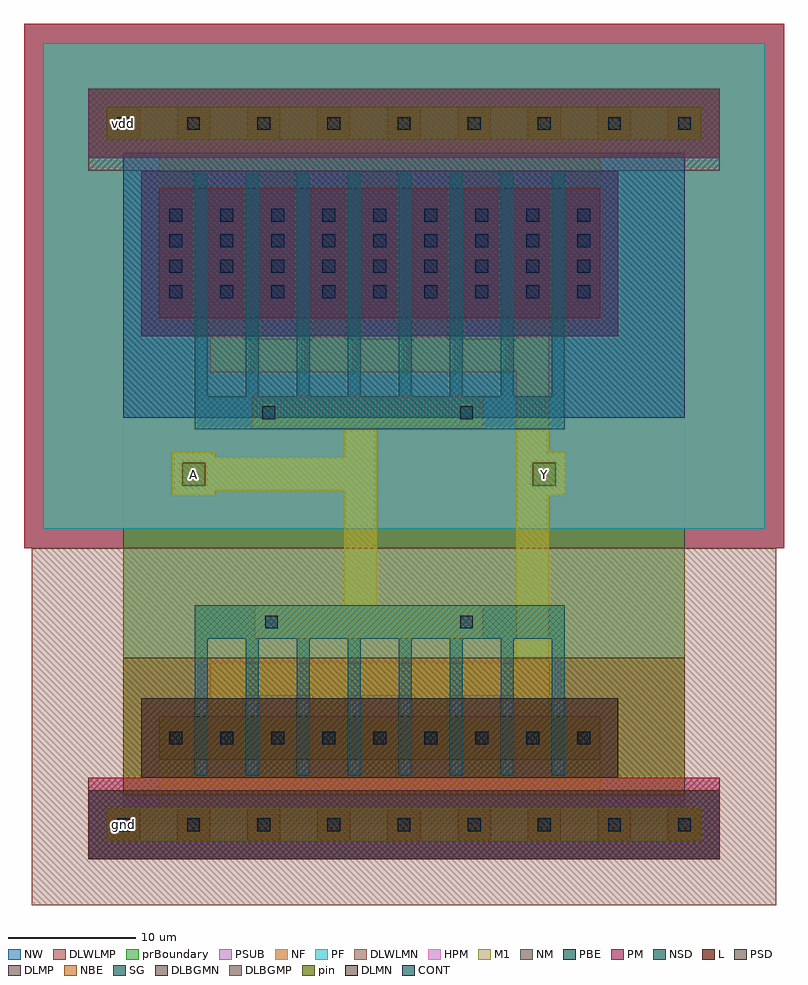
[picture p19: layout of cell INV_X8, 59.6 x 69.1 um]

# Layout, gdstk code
import gdstk
lib = gdstk.Library(unit=1e-6, precision=1e-09)
def R(c, l, rs):  # rectangles x0, y0, x1, y1
    for r in rs: c.add(gdstk.rectangle(r[:2], r[2:], *l))
def A(c, l, x, y, w, h, nx, ny, dx, dy):  # array of equal rectangles
    R(c, l, [(x+i*dx, y+j*dy, x+i*dx+w, y+j*dy+h) for i in range(nx) for j in range(ny)])
def P(c, l, *ps):  # polygons
    for p in ps: c.add(gdstk.Polygon(p, *l))
L = (3, 0)
NM = (7, 0)
SG = (8, 0)
PSD = (9, 0)
CONT = (11, 0)
M1 = (13, 0)
NF = (25, 0)
PF = (26, 0)
NSD = (28, 0)
HPM = (33, 0)
PM = (35, 0)
NW = (36, 0)
pin = (48, 1)
PSUB = (140, 0)
PBE = (146, 0)
NBE = (147, 0)
DLWLMP = (150, 0)
DLWLMN = (151, 0)
DLMP = (157, 0)
DLMN = (158, 0)
DLBGMP = (177, 0)
DLBGMN = (178, 0)
prBoundary = (235, 0)

inv_x8 = lib.new_cell('INV_X8')
A(inv_x8, L, -1.3, -1.3, 2.6, 2.6, 9, 2, 5.5, 55)
R(inv_x8, L, [(2.8,5.1,37.4,8.5), (2.8,39.7,37.4,49.9)])
R(inv_x8, NM, [(-2.75,-2.7,46.75,2.7)])
P(inv_x8, NM, [(1.4,38.3),(1.4,51.3),(-2.75,51.3),(-2.75,57.7),(46.75,57.7),(46.75,51.3),(38.8,51.3),(38.8,38.3)])
P(inv_x8, SG, [(5.6,3.9),(5.6,17.2),(34.6,17.2),(34.6,3.9),(33.6,3.9),(33.6,14.6),(30.6,14.6),(30.6,3.9),(29.6,3.9),(29.6,14.6),(26.6,14.6),(26.6,3.9),(25.6,3.9),(25.6,14.6),(22.6,14.6),(22.6,3.9),(21.6,3.9),(21.6,14.6),(18.6,14.6),(18.6,3.9),(17.6,3.9),(17.6,14.6),(14.6,14.6),(14.6,3.9),(13.6,3.9),(13.6,14.6),(10.6,14.6),(10.6,3.9),(9.6,3.9),(9.6,14.6),(6.6,14.6),(6.6,3.9)],
  [(5.6,31),(5.6,51.1),(6.6,51.1),(6.6,33.6),(9.6,33.6),(9.6,51.1),(10.6,51.1),(10.6,33.6),(13.6,33.6),(13.6,51.1),(14.6,51.1),(14.6,33.6),(17.6,33.6),(17.6,51.1),(18.6,51.1),(18.6,33.6),(21.6,33.6),(21.6,51.1),(22.6,51.1),(22.6,33.6),(25.6,33.6),(25.6,51.1),(26.6,51.1),(26.6,33.6),(29.6,33.6),(29.6,51.1),(30.6,51.1),(30.6,33.6),(33.6,33.6),(33.6,51.1),(34.6,51.1),(34.6,31)])
R(inv_x8, PSD, [(1.4,3.7,38.8,9.9), (-2.75,52.3,46.75,57.7)])
A(inv_x8, CONT, -0.5, -0.5, 1, 1, 9, 2, 5.5, 55)
A(inv_x8, CONT, 3.6, 6.3, 1, 1, 9, 2, 4, 35)
A(inv_x8, CONT, 3.6, 43.3, 1, 1, 9, 3, 4, 2)
R(inv_x8, CONT, [(11.1,15.4,12.1,16.4), (26.4,15.4,27.4,16.4), (10.9,31.8,11.9,32.8), (26.4,31.8,27.4,32.8)])
P(inv_x8, M1, [(-1.3,-1.3),(-1.3,1.3),(2.8,1.3),(2.8,8.5),(5.4,8.5),(5.4,3.7),(10.8,3.7),(10.8,8.5),(13.4,8.5),(13.4,3.7),(18.8,3.7),(18.8,8.5),(21.4,8.5),(21.4,3.7),(26.8,3.7),(26.8,8.5),(29.4,8.5),(29.4,3.7),(34.8,3.7),(34.8,8.5),(37.4,8.5),(37.4,1.3),(45.3,1.3),(45.3,-1.3)],
  [(10.3,14.6),(10.3,17.2),(17.3,17.2),(17.3,26.2),(7.2,26.2),(7.2,25.8),(3.8,25.8),(3.8,29.2),(7.2,29.2),(7.2,28.8),(17.3,28.8),(17.3,31),(10.1,31),(10.1,33.6),(28.2,33.6),(28.2,31),(19.9,31),(19.9,17.2),(28.2,17.2),(28.2,14.6)],
  [(6.8,5.1),(6.8,12.7),(30.8,12.7),(30.8,35.5),(6.8,35.5),(6.8,49.9),(9.4,49.9),(9.4,38.1),(14.8,38.1),(14.8,49.9),(17.4,49.9),(17.4,38.1),(22.8,38.1),(22.8,49.9),(25.4,49.9),(25.4,38.1),(30.8,38.1),(30.8,49.9),(33.4,49.9),(33.4,29.2),(34.7,29.2),(34.7,25.8),(33.4,25.8),(33.4,5.1),(30.8,5.1),(30.8,10.1),(25.4,10.1),(25.4,5.1),(22.8,5.1),(22.8,10.1),(17.4,10.1),(17.4,5.1),(14.8,5.1),(14.8,10.1),(9.4,10.1),(9.4,5.1)],
  [(2.8,39.7),(2.8,53.7),(-1.3,53.7),(-1.3,56.3),(45.3,56.3),(45.3,53.7),(37.4,53.7),(37.4,39.7),(34.8,39.7),(34.8,51.3),(29.4,51.3),(29.4,39.7),(26.8,39.7),(26.8,51.3),(21.4,51.3),(21.4,39.7),(18.8,39.7),(18.8,51.3),(13.4,51.3),(13.4,39.7),(10.8,39.7),(10.8,51.3),(5.4,51.3),(5.4,39.7)])
R(inv_x8, NF, [(-6.3,23.2,50.3,61.3)])
R(inv_x8, PF, [(-6.3,23.2,50.3,61.3)])
R(inv_x8, NSD, [(-2.75,-2.7,46.75,2.7), (1.4,38.3,38.8,51.3)])
P(inv_x8, HPM, [(-2.75,-2.7),(-2.75,3.7),(1.4,3.7),(1.4,9.9),(38.8,9.9),(38.8,3.7),(46.75,3.7),(46.75,-2.7)],
  [(1.4,38.3),(1.4,51.3),(-2.75,51.3),(-2.75,57.7),(46.75,57.7),(46.75,51.3),(38.8,51.3),(38.8,38.3)])
R(inv_x8, PM, [(-2.75,52.3,46.75,57.7)])
P(inv_x8, PM, [(-2.75,-2.7),(-2.75,3.7),(1.4,3.7),(1.4,9.9),(38.8,9.9),(38.8,3.7),(46.75,3.7),(46.75,-2.7)])
R(inv_x8, NW, [(-7.8,21.7,51.8,62.8)])
R(inv_x8, pin, [(-1.3,-1.3,45.3,1.3), (4.6,26.6,6.4,28.4), (32.1,26.6,33.9,28.4), (-1.3,53.7,45.3,56.3)])
R(inv_x8, PSUB, [(-6.3,23.2,50.3,61.3)])
R(inv_x8, PBE, [(0,31.9,44,52.7)])
R(inv_x8, NBE, [(0,2.3,44,13.1)])
R(inv_x8, DLWLMP, [(-7.8,21.7,51.8,62.8)])
R(inv_x8, DLWLMN, [(-7.2,-6.3,51.2,21.7)])
R(inv_x8, DLMP, [(1.4,38.3,38.8,51.3)])
R(inv_x8, DLMN, [(1.4,3.7,38.8,9.9)])
R(inv_x8, DLBGMP, [(-2.75,52.3,46.75,57.7)])
R(inv_x8, DLBGMN, [(-2.75,-2.7,46.75,2.7)])
R(inv_x8, prBoundary, [(0,0,44,55)])
inv_x8.add(gdstk.Label('Y', (33,27.5), layer=48, texttype=0))
inv_x8.add(gdstk.Label('A', (5.5,27.5), layer=48, texttype=0))
inv_x8.add(gdstk.Label('vdd', (0,55), layer=48, texttype=0))
inv_x8.add(gdstk.Label('gnd', (0,0), layer=48, texttype=0))

lib.write_gds('INV_X8.gds')
